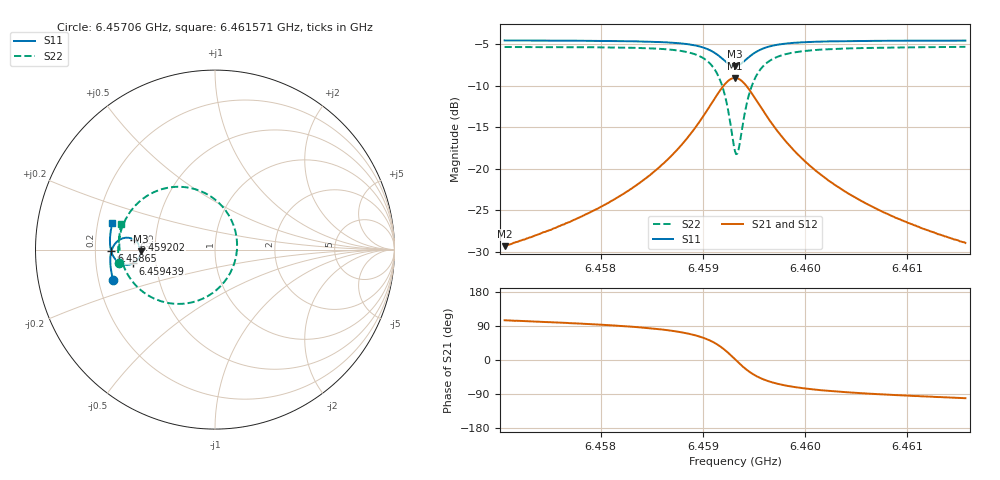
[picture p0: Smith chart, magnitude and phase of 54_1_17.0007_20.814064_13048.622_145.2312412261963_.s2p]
#  HZ  S  RI  R  50.00
! Rohde & Schwarz Vector Network Analyzer
! Rohde-Schwarz,ZNB20-2Port,1311601062101988,3.16
! Created: UTC 3/20/2024, 10:54:25 PM
! freq[Hz]  re:S11  im:S11  re:S21  im:S21  re:S12  im:S12  re:S22  im:S22
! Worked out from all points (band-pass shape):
!   401 points, 6.45706 GHz to 6.461571 GHz, reference 50 ohm
!   highest |S21| = -9.06 dB at 6.459315 GHz (marker M1); lowest = -29.3 dB at 6.45706 GHz (marker M2)
!   |S21| within 3 dB of the highest: 6.459089 GHz to 6.45954 GHz (450.8 kHz wide, 0.00698 % of centre)
!   lowest |S11| = -7.7 dB at 6.459315 GHz (marker M3), VSWR 2.41, Z = 20.7 - j0.487 ohm
!   |S11| at or under -10 dB: nowhere
!   |S22| runs from -18.2 to -5.3 dB; largest |S21 - S12| = 0.014
!   S11 on the Smith chart (normalised r, x): 6.45706 GHz: 0.26, -0.13; 6.45865 GHz: 0.27, -0.01; 6.459202 GHz: 0.38, +0.05; 6.459439 GHz: 0.37, -0.07; 6.461571 GHz: 0.26, +0.12
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6.4570597e9  -0.5679 -0.1673  -0.00879 0.033  -0.00696 0.0331  -0.5351 -0.0766
6.4578153e9  -0.5812 -0.1008  -0.00538 0.0513  -0.0027 0.0507  -0.539 0.0131
6.45821e9  -0.5835 -0.061  0.00055 0.0697  0.00361 0.0684  -0.5308 0.0761
6.4585708e9  -0.5793 -0.0176  0.0153 0.1005  0.0191 0.0977  -0.5032 0.1584
6.4586498e9  -0.5767 -0.00638  0.0217 0.1104  0.0259 0.1072  -0.4908 0.1821
6.4588415e9  -0.5629 0.0244  0.0504 0.1426  0.0545 0.1374  -0.4368 0.2526
6.4589768e9  -0.5407 0.0487  0.0944 0.1712  0.0975 0.1644  -0.3558 0.3125
6.4591122e9  -0.4959 0.0661  0.1835 0.1875  0.1842 0.18  -0.1932 0.3499
6.4592024e9  -0.4504 0.0551  0.275 0.1549  0.2752 0.149  -0.024 0.2964
6.45927e9  -0.4209 0.022  0.336 0.0811  0.3382 0.0757  0.092 0.1627
6.4593151e9  -0.4142 -0.00974  0.3521 0.0116  0.3559 0.00448  0.123 0.0327
6.459349e9  -0.4183 -0.034  0.3456 -0.0418  0.3497 -0.0512  0.11 -0.0686
6.4593941e9  -0.4343 -0.0606  0.3159 -0.1025  0.3182 -0.1148  0.0496 -0.1828
6.4594392e9  -0.457 -0.0773  0.2727 -0.1438  0.2718 -0.1574  -0.0379 -0.2579
6.4595294e9  -0.5011 -0.0843  0.1862 -0.1747  0.1799 -0.1865  -0.2101 -0.3025
6.4595971e9  -0.5259 -0.0769  0.1371 -0.1724  0.129 -0.1813  -0.3047 -0.2862
6.459676e9  -0.5457 -0.0637  0.097 -0.1599  0.0882 -0.1662  -0.3796 -0.2506
6.4598452e9  -0.5687 -0.0341  0.0495 -0.1293  0.0419 -0.1319  -0.4641 -0.1722
6.4600707e9  -0.5806 -0.000465  0.0223 -0.0991  0.0163 -0.0996  -0.5083 -0.0934
6.460409e9  -0.5853 0.0403  0.00618 -0.0716  0.00195 -0.0712  -0.5296 -0.0138
6.4608263e9  -0.5836 0.0826  -0.00153 -0.0527  -0.00447 -0.0518  -0.5337 0.0543
6.4615706e9  -0.5718 0.1488  -0.0067 -0.0351  -0.00841 -0.0344  -0.5223 0.1434
